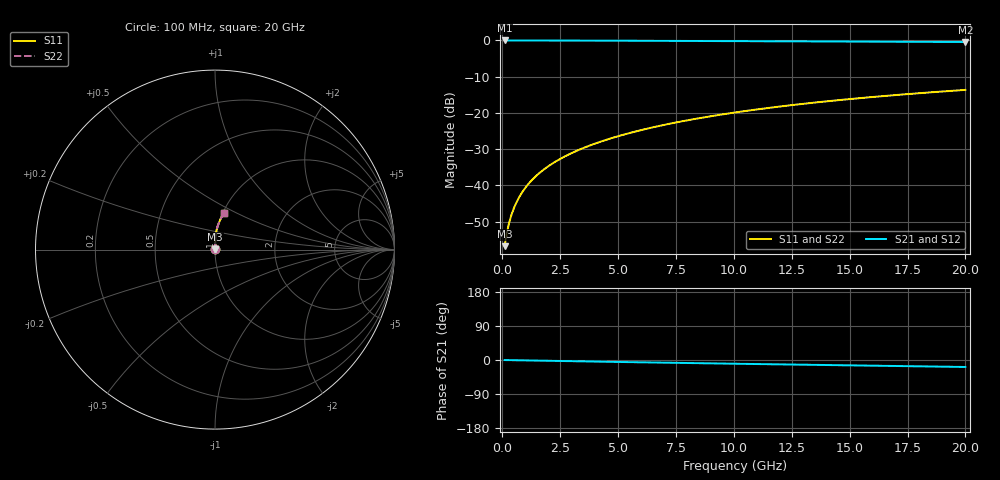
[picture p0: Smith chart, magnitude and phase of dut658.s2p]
! Touchstone file exported from HFSS 2024.1.0
!  File:  C:/UserFiles/LocalFiles/RDL_TSV_Batchsim/temp_RDL_bottom_658_1779785647.aedt
!  Generated:  04:56:33 PM May 26, 2026
!  Design:  RDL_bottom
!  Project:  temp_RDL_bottom_658_1779785647
!  Setup:  Setup1
!  Solution:  Sweep
! Variables:
!  dtsv = 10.80580581um
!  hbump = 3um
!  htsv = 80.46um
!  ldown = 215.02um
!  lrdl = 100um
!  p = 40
!  p1 = 56.16um
!  rhole = 1um
!  t = 450um
!  tdown = 3.86um
!  trdl = 3.915915916um
!  wdown = 22.79um
!  wrdl = 20um
# GHz S MA R 50.000000
! Terminal data exported
! Port[1] = RDL1_T1
! Port[2] = RDL1_T2
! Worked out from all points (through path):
!   200 points, 100 MHz to 20 GHz, reference 50 ohm
!   highest |S21| = -0.01 dB at 100 MHz (marker M1); lowest = -0.4 dB at 20 GHz (marker M2)
!   group delay of S21, straight-line fit = 2.53 ps
!   lowest |S11| = -56.7 dB at 100 MHz (marker M3), VSWR 1.00, Z = 50.1 + j0.0991 ohm
!   |S11| at or under -10 dB: start of sweep to end of sweep
!   |S22| runs from -56.7 to -13.6 dB; largest |S21 - S12| = 6.5e-15
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0.1  0.001455 42.8  0.9989 -0.1  0.9989 -0.1  0.001455 42.8
! Gamma 0 0 0 0
! Port Impedance 50 0 50 0
0.2  0.002244 60.2  0.9989 -0.2  0.9989 -0.2  0.002244 60.2
0.3  0.003103 68.0  0.9988 -0.3  0.9988 -0.3  0.003103 68.0
0.4  0.003975 72.5  0.9987 -0.4  0.9987 -0.4  0.003975 72.5
0.5  0.004854 75.5  0.9987 -0.5  0.9987 -0.5  0.004854 75.5
0.6  0.005739 77.6  0.9986 -0.6  0.9986 -0.6  0.005739 77.6
0.8  0.007525 80.5  0.9985 -0.9  0.9985 -0.9  0.007525 80.5
1.1  0.01024 83.1  0.9983 -1.2  0.9983 -1.2  0.01024 83.1
1.5  0.0139 85.1  0.9979 -1.6  0.9979 -1.6  0.0139 85.1
1.8  0.01667 86.0  0.9976 -1.9  0.9976 -1.9  0.01667 86.0
2.1  0.01946 86.7  0.9972 -2.2  0.9972 -2.2  0.01946 86.7
2.7  0.02512 87.7  0.9962 -2.9  0.9962 -2.9  0.02512 87.7
3.5  0.03283 88.4  0.9947 -3.7  0.9947 -3.7  0.03283 88.4
4.2  0.03972 88.6  0.9932 -4.4  0.9932 -4.4  0.03972 88.6
5  0.04776 88.7  0.9913 -5.2  0.9913 -5.2  0.04777 88.7
5.9  0.05702 88.6  0.989 -6.0  0.989 -6.0  0.05702 88.6
6.8  0.06645 88.2  0.9867 -6.9  0.9867 -6.9  0.06645 88.2
8.4  0.08356 87.3  0.9823 -8.4  0.9823 -8.4  0.08357 87.3
10.1  0.102 85.9  0.9777 -9.9  0.9777 -9.9  0.102 85.9
13.4  0.138 82.9  0.9689 -12.8  0.9689 -12.8  0.138 82.9
16.7  0.1735 79.7  0.9599 -15.6  0.9599 -15.6  0.1735 79.7
20  0.2079 76.4  0.9506 -18.4  0.9506 -18.4  0.2079 76.4
